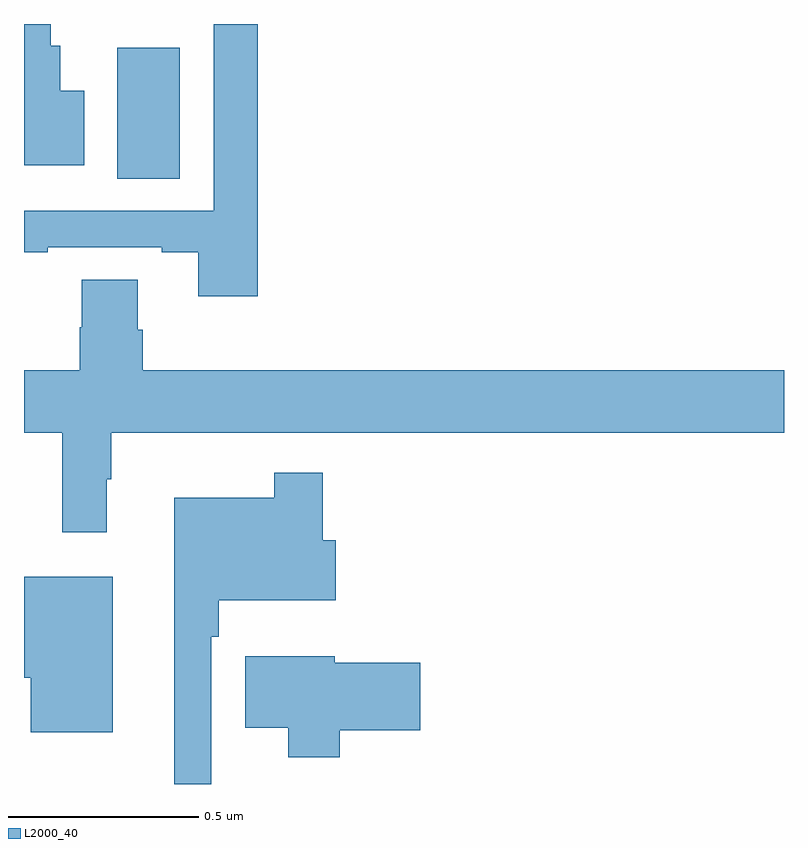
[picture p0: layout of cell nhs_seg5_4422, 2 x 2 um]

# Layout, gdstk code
import gdstk
lib = gdstk.Library(unit=1e-6, precision=1e-09)
def R(c, l, rs):  # rectangles x0, y0, x1, y1
    for r in rs: c.add(gdstk.rectangle(r[:2], r[2:], *l))
def P(c, l, *ps):  # polygons
    for p in ps: c.add(gdstk.Polygon(p, *l))
L2000_40 = (2000, 40)

nhs_seg5_4422 = lib.new_cell('nhs_seg5_4422')
R(nhs_seg5_4422, L2000_40, [(170.246,893.392,170.41,893.736)])
P(nhs_seg5_4422, L2000_40, [(170.615,893.799),(170.499,893.799),(170.499,893.307),(170,893.307),(170,893.199),(170.063,893.199),(170.063,893.211),(170.363,893.211),(170.363,893.199),(170.459,893.199),(170.459,893.082),(170.615,893.082)],
  [(170.158,893.623),(170.095,893.623),(170.095,893.742),(170.07,893.742),(170.07,893.799),(170,893.799),(170,893.427),(170.158,893.427)],
  [(170.218,892.601),(170.23,892.601),(170.23,892.724),(172,892.724),(172,892.888),(170.312,892.888),(170.312,892.994),(170.299,892.994),(170.299,893.126),(170.152,893.126),(170.152,893.001),(170.147,893.001),(170.147,892.888),(170,892.888),(170,892.724),(170.101,892.724),(170.101,892.461),(170.218,892.461)],
  [(170.493,892.187),(170.513,892.187),(170.513,892.283),(170.821,892.283),(170.821,892.441),(170.786,892.441),(170.786,892.618),(170.658,892.618),(170.658,892.552),(170.396,892.552),(170.396,891.799),(170.493,891.799)],
  [(170.233,892.345),(170,892.345),(170,892.079),(170.018,892.079),(170.018,891.935),(170.233,891.935)],
  [(170.831,891.94),(171.043,891.94),(171.043,892.118),(170.818,892.118),(170.818,892.135),(170.582,892.135),(170.582,891.947),(170.696,891.947),(170.696,891.869),(170.831,891.869)])

lib.write_gds('nhs_seg5_4422.gds')
